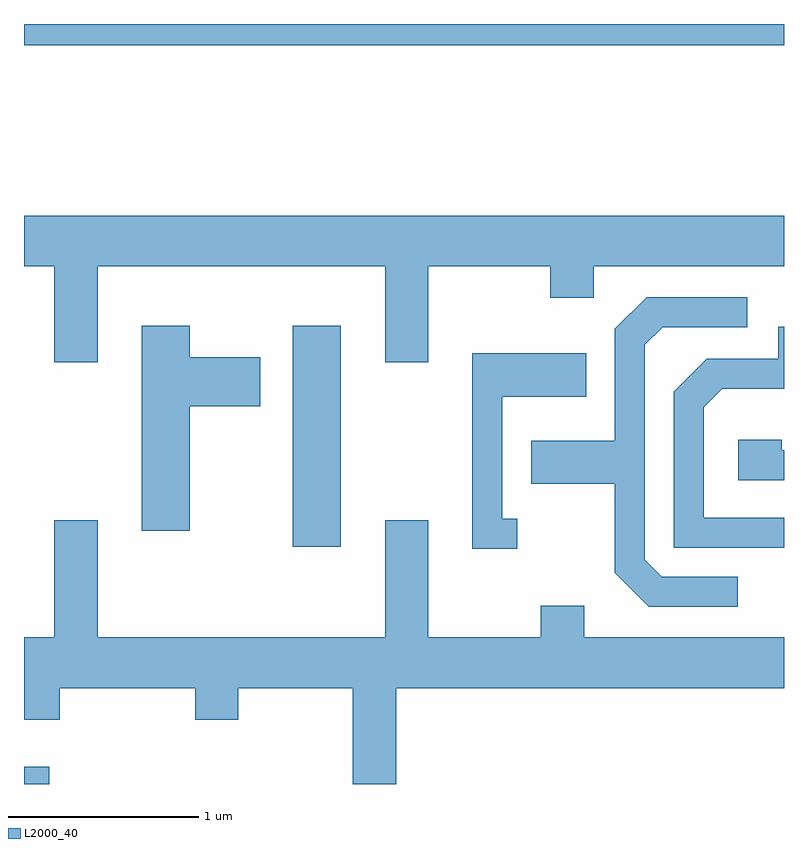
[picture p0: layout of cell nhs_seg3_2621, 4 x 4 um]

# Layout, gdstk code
import gdstk
lib = gdstk.Library(unit=1e-6, precision=1e-09)
def R(c, l, rs):  # rectangles x0, y0, x1, y1
    for r in rs: c.add(gdstk.rectangle(r[:2], r[2:], *l))
def P(c, l, *ps):  # polygons
    for p in ps: c.add(gdstk.Polygon(p, *l))
L2000_40 = (2000, 40)

nhs_seg3_2621 = lib.new_cell('nhs_seg3_2621')
R(nhs_seg3_2621, L2000_40, [(261.611,1189.892,261.744,1189.984), (263.026,1191.141,263.279,1192.304), (261.611,1193.781,265.611,1193.892)])
P(nhs_seg3_2621, L2000_40, [(261.999,1192.616),(263.511,1192.616),(263.511,1192.111),(263.739,1192.111),(263.739,1192.616),(264.381,1192.616),(264.381,1192.451),(264.609,1192.451),(264.609,1192.616),(265.611,1192.616),(265.611,1192.884),(261.611,1192.884),(261.611,1192.616),(261.771,1192.616),(261.771,1192.111),(261.999,1192.111)],
  [(265.368,1190.984),(264.967,1190.984),(264.879,1191.072),(264.879,1192.204),(264.972,1192.296),(265.418,1192.296),(265.418,1192.454),(264.889,1192.454),(264.721,1192.287),(264.721,1191.699),(264.281,1191.699),(264.281,1191.471),(264.721,1191.471),(264.721,1191.004),(264.899,1190.826),(265.368,1190.826)],
  [(262.484,1191.881),(262.854,1191.881),(262.854,1192.139),(262.484,1192.139),(262.484,1192.304),(262.231,1192.304),(262.231,1191.226),(262.484,1191.226)],
  [(265.611,1191.294),(265.189,1191.294),(265.189,1191.874),(265.287,1191.971),(265.611,1191.971),(265.611,1192.299),(265.581,1192.299),(265.581,1192.129),(265.204,1192.129),(265.031,1191.957),(265.031,1191.136),(265.611,1191.136)],
  [(264.208,1191.289),(264.129,1191.289),(264.129,1191.931),(264.569,1191.931),(264.569,1192.159),(263.971,1192.159),(263.971,1191.131),(264.208,1191.131)],
  [(265.611,1191.649),(265.599,1191.649),(265.599,1191.704),(265.371,1191.704),(265.371,1191.491),(265.611,1191.491)],
  [(263.569,1190.396),(265.611,1190.396),(265.611,1190.664),(264.559,1190.664),(264.559,1190.829),(264.331,1190.829),(264.331,1190.664),(263.739,1190.664),(263.739,1191.279),(263.511,1191.279),(263.511,1190.664),(261.999,1190.664),(261.999,1191.279),(261.771,1191.279),(261.771,1190.664),(261.611,1190.664),(261.611,1190.231),(261.799,1190.231),(261.799,1190.396),(262.511,1190.396),(262.511,1190.231),(262.739,1190.231),(262.739,1190.396),(263.341,1190.396),(263.341,1189.892),(263.569,1189.892)])

lib.write_gds('nhs_seg3_2621.gds')
